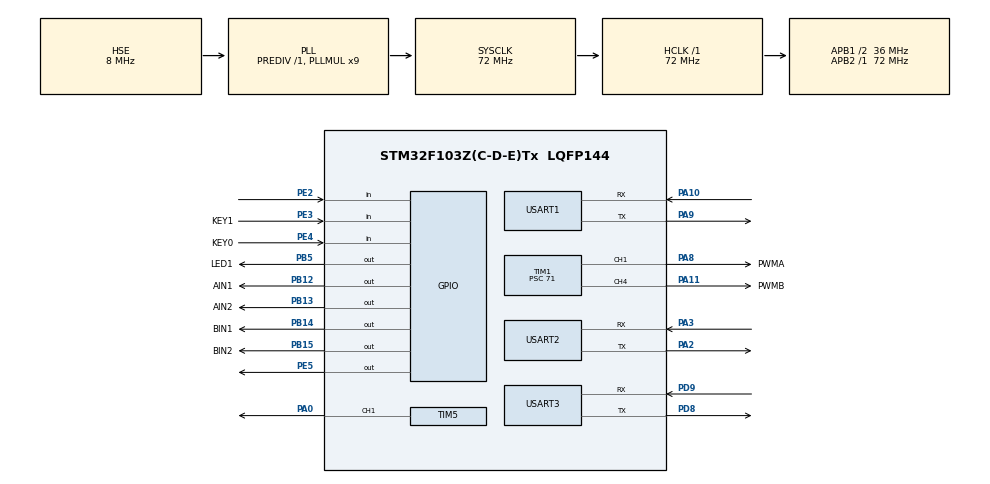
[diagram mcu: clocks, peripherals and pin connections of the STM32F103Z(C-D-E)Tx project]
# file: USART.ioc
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FREERTOS.Tasks01=Init_Task,2,128,Init_Function,Default,NULL,Dynamic,NULL,NULL;LED_Task,-3,128,LED_Function,Default,NULL,Dynamic,NULL,NULL;myTaskKEY,-3,128,StartTaskKEY,Default,NULL,Dynamic,NULL,NULL;myTaskPWM,-3,128,StartTaskPWM,Default,NULL,Dynamic,NULL,NULL
Mcu.Family=STM32F1
Mcu.Name=STM32F103Z(C-D-E)Tx
Mcu.Package=LQFP144
NVIC.PriorityGroup=NVIC_PRIORITYGROUP_4
NVIC.TIM3_IRQn=true\:5\:0\:true\:false\:true\:true\:true\:true
NVIC.TIM4_IRQn=true\:6\:0\:true\:false\:true\:true\:true\:true
NVIC.TIM5_IRQn=true\:5\:0\:false\:false\:true\:true\:true\:true
NVIC.TIM8_UP_IRQn=true\:15\:0\:false\:false\:true\:false\:false\:true
NVIC.TimeBase=TIM8_UP_IRQn
NVIC.TimeBaseIP=TIM8
NVIC.USART1_IRQn=true\:5\:0\:true\:false\:true\:true\:true\:true
NVIC.USART2_IRQn=true\:5\:0\:true\:false\:true\:true\:true\:true
NVIC.USART3_IRQn=true\:5\:0\:false\:false\:true\:true\:true\:true
OSC_IN.Mode=HSE-External-Oscillator
OSC_IN.Signal=RCC_OSC_IN
OSC_OUT.Mode=HSE-External-Oscillator
OSC_OUT.Signal=RCC_OSC_OUT
PA0-WKUP.Signal=S_TIM5_CH1
PA10.Mode=Asynchronous
PA10.Signal=USART1_RX
PA11.GPIO_Label=PWMB
PA11.Signal=S_TIM1_CH4
PA13.Mode=Serial_Wire
PA13.Signal=SYS_JTMS-SWDIO
PA14.Mode=Serial_Wire
PA14.Signal=SYS_JTCK-SWCLK
PA2.Mode=Asynchronous
PA2.Signal=USART2_TX
PA3.Mode=Asynchronous
PA3.Signal=USART2_RX
PA8.GPIO_Label=PWMA
PA8.Signal=S_TIM1_CH1
PA9.Mode=Asynchronous
PA9.Signal=USART1_TX
PB12.GPIO_Label=AIN1
PB12.GPIO_Speed=GPIO_SPEED_FREQ_MEDIUM
PB12.Signal=GPIO_Output
PB13.GPIO_Label=AIN2
PB13.GPIO_Speed=GPIO_SPEED_FREQ_MEDIUM
PB13.Signal=GPIO_Output
PB14.GPIO_Label=BIN1
PB14.GPIO_Speed=GPIO_SPEED_FREQ_MEDIUM
PB14.Signal=GPIO_Output
PB15.GPIO_Label=BIN2
PB15.GPIO_Speed=GPIO_SPEED_FREQ_MEDIUM
PB15.Signal=GPIO_Output
PB5.GPIO_Label=LED1
PB5.PinState=GPIO_PIN_SET
PB5.Signal=GPIO_Output
PD8.Mode=Asynchronous
PD8.Signal=USART3_TX
PD9.Mode=Asynchronous
PD9.Signal=USART3_RX
PE2.Signal=GPIO_Input
PE3.GPIO_Label=KEY1
PE3.GPIO_PuPd=GPIO_PULLUP
PE3.Signal=GPIO_Input
PE4.GPIO_Label=KEY0
PE4.GPIO_PuPd=GPIO_PULLUP
PE4.Signal=GPIO_Input
PE5.Signal=GPIO_Output
ProjectManager.HeapSize=0x200
ProjectManager.StackSize=0x400
ProjectManager.TargetToolchain=MDK-ARM V5.32
RCC.AHBFreq_Value=72000000
RCC.APB1CLKDivider=RCC_HCLK_DIV2
RCC.APB1Freq_Value=36000000
RCC.APB1TimFreq_Value=72000000
RCC.APB2Freq_Value=72000000
RCC.APB2TimFreq_Value=72000000
RCC.HCLKFreq_Value=72000000
RCC.PLLMUL=RCC_PLL_MUL9
RCC.PLLSourceVirtual=RCC_PLLSOURCE_HSE
RCC.SYSCLKFreq_VALUE=72000000
RCC.SYSCLKSource=RCC_SYSCLKSOURCE_PLLCLK
RCC.USBFreq_Value=72000000
SH.S_TIM1_CH1.0=TIM1_CH1,PWM Generation1 CH1
SH.S_TIM1_CH4.0=TIM1_CH4,PWM Generation4 CH4
SH.S_TIM5_CH1.0=TIM5_CH1,PWM Generation1 CH1
TIM1.Channel-PWM\ Generation1\ CH1=TIM_CHANNEL_1
TIM1.Channel-PWM\ Generation4\ CH4=TIM_CHANNEL_4
TIM1.Period=999
TIM1.Prescaler=71
TIM3.AutoReloadPreload=TIM_AUTORELOAD_PRELOAD_ENABLE
TIM3.Period=4999
TIM3.Prescaler=7199
TIM4.AutoReloadPreload=TIM_AUTORELOAD_PRELOAD_ENABLE
TIM4.Period=9999
TIM4.Prescaler=7199
TIM5.AutoReloadPreload=TIM_AUTORELOAD_PRELOAD_ENABLE
TIM5.Channel-PWM\ Generation1\ CH1=TIM_CHANNEL_1
TIM5.OCFastMode_PWM-PWM\ Generation1\ CH1=TIM_OCFAST_DISABLE
TIM5.OCPolarity_1=TIM_OCPOLARITY_LOW
TIM5.Period=500-1
TIM5.Prescaler=72-1
USART1.VirtualMode=VM_ASYNC
USART2.VirtualMode=VM_ASYNC
USART3.VirtualMode=VM_ASYNC
VP_FREERTOS_VS_CMSIS_V1.Mode=CMSIS_V1
VP_SYS_VS_tim8.Mode=TIM8
VP_TIM1_VS_ClockSourceINT.Mode=Internal
VP_TIM3_VS_ClockSourceINT.Mode=Internal
VP_TIM4_VS_ClockSourceINT.Mode=Internal
VP_TIM5_VS_ClockSourceINT.Mode=Internal
board=custom

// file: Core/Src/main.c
/* USER CODE BEGIN Header */
/**
  ******************************************************************************
  * @file           : main.c
  * @brief          : Main program body
  ******************************************************************************
  * @attention
  *
  * Copyright (c) 2023 STMicroelectronics.
  * All rights reserved.
  *
  * This software is licensed under terms that can be found in the LICENSE file
  * in the root directory of this software component.
  * If no LICENSE file comes with this software, it is provided AS-IS.
  *
  ******************************************************************************
  */
/* USER CODE END Header */
#include "main.h"
#include "cmsis_os.h"
#include "tim.h"
#include "usart.h"
#include "gpio.h"

void SystemClock_Config(void);
void MX_FREERTOS_Init(void);

int main(void)
{

  /* MCU Configuration--------------------------------------------------------*/

  /* Reset of all peripherals, Initializes the Flash interface and the Systick. */
  HAL_Init();

  /* Configure the system clock */
  SystemClock_Config();

  /* Initialize all configured peripherals */
  MX_GPIO_Init();
  MX_USART1_UART_Init();
  MX_USART2_UART_Init();
  MX_USART3_UART_Init();
  MX_TIM3_Init();
  MX_TIM4_Init();
  MX_TIM5_Init();
  MX_TIM1_Init();

  /* Call init function for freertos objects (in freertos.c) */
  MX_FREERTOS_Init();
  /* Start scheduler */
  osKernelStart();

  /* We should never get here as control is now taken by the scheduler */
  /* Infinite loop */
  while (1)
  {

  }
}

void SystemClock_Config(void)
{
  RCC_OscInitTypeDef RCC_OscInitStruct = {0};
  RCC_ClkInitTypeDef RCC_ClkInitStruct = {0};

  /** Initializes the RCC Oscillators according to the specified parameters
  * in the RCC_OscInitTypeDef structure.
  */
  RCC_OscInitStruct.OscillatorType = RCC_OSCILLATORTYPE_HSE;
  RCC_OscInitStruct.HSEState = RCC_HSE_ON;
  RCC_OscInitStruct.HSEPredivValue = RCC_HSE_PREDIV_DIV1;
  RCC_OscInitStruct.HSIState = RCC_HSI_ON;
  RCC_OscInitStruct.PLL.PLLState = RCC_PLL_ON;
  RCC_OscInitStruct.PLL.PLLSource = RCC_PLLSOURCE_HSE;
  RCC_OscInitStruct.PLL.PLLMUL = RCC_PLL_MUL9;
  if (HAL_RCC_OscConfig(&RCC_OscInitStruct) != HAL_OK)
  {
    Error_Handler();
  }
  /** Initializes the CPU, AHB and APB buses clocks
  */
  RCC_ClkInitStruct.ClockType = RCC_CLOCKTYPE_HCLK|RCC_CLOCKTYPE_SYSCLK
                              |RCC_CLOCKTYPE_PCLK1|RCC_CLOCKTYPE_PCLK2;
  RCC_ClkInitStruct.SYSCLKSource = RCC_SYSCLKSOURCE_PLLCLK;
  RCC_ClkInitStruct.AHBCLKDivider = RCC_SYSCLK_DIV1;
  RCC_ClkInitStruct.APB1CLKDivider = RCC_HCLK_DIV2;
  RCC_ClkInitStruct.APB2CLKDivider = RCC_HCLK_DIV1;

  if (HAL_RCC_ClockConfig(&RCC_ClkInitStruct, FLASH_LATENCY_2) != HAL_OK)
  {
    Error_Handler();
  }
}

void HAL_TIM_PeriodElapsedCallback(TIM_HandleTypeDef *htim)
{
  if (htim->Instance == TIM8) {
    HAL_IncTick();
  }
  /* USER CODE BEGIN Callback 1 */
  if (htim->Instance == TIM3)
  {
	 u1_printf("time3\r\n");
  }

  if (htim->Instance == TIM4)
  {
	 u1_printf("time4\r\n");
  }
  /* USER CODE END Callback 1 */
}

void Error_Handler(void)
{
  __disable_irq();
  while (1)
  {
  }
}

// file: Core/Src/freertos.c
/* USER CODE BEGIN Header */
/**
  ******************************************************************************
  * File Name          : freertos.c
  * Description        : Code for freertos applications
  ******************************************************************************
  * @attention
  *
  * Copyright (c) 2023 STMicroelectronics.
  * All rights reserved.
  *
  * This software is licensed under terms that can be found in the LICENSE file
  * in the root directory of this software component.
  * If no LICENSE file comes with this software, it is provided AS-IS.
  *
  ******************************************************************************
  */
/* USER CODE END Header */

#include "FreeRTOS.h"
#include "task.h"
#include "main.h"
#include "cmsis_os.h"

/* USER CODE BEGIN Variables */
uint16_t pwm_value=0;   //PWM占空比
/* USER CODE END Variables */
osThreadId Init_TaskHandle;
osThreadId LED_TaskHandle;
osThreadId myTaskKEYHandle;
osThreadId myTaskPWMHandle;

void Init_Function(void const * argument);
void LED_Function(void const * argument);
void StartTaskKEY(void const * argument);
void StartTaskPWM(void const * argument);

void MX_FREERTOS_Init(void); /* (MISRA C 2004 rule 8.1) */

/* GetIdleTaskMemory prototype (linked to static allocation support) */
void vApplicationGetIdleTaskMemory( StaticTask_t **ppxIdleTaskTCBBuffer, StackType_t **ppxIdleTaskStackBuffer, uint32_t *pulIdleTaskStackSize );

/* USER CODE BEGIN GET_IDLE_TASK_MEMORY */
static StaticTask_t xIdleTaskTCBBuffer;
static StackType_t xIdleStack[configMINIMAL_STACK_SIZE];

void vApplicationGetIdleTaskMemory( StaticTask_t **ppxIdleTaskTCBBuffer, StackType_t **ppxIdleTaskStackBuffer, uint32_t *pulIdleTaskStackSize )
{
  *ppxIdleTaskTCBBuffer = &xIdleTaskTCBBuffer;
  *ppxIdleTaskStackBuffer = &xIdleStack[0];
  *pulIdleTaskStackSize = configMINIMAL_STACK_SIZE;
  /* place for user code */
}
/* USER CODE END GET_IDLE_TASK_MEMORY */

void MX_FREERTOS_Init(void) {

  /* Create the thread(s) */
  /* definition and creation of Init_Task */
  osThreadDef(Init_Task, Init_Function, osPriorityHigh, 0, 128);
  Init_TaskHandle = osThreadCreate(osThread(Init_Task), NULL);

  /* definition and creation of LED_Task */
  osThreadDef(LED_Task, LED_Function, osPriorityIdle, 0, 128);
  LED_TaskHandle = osThreadCreate(osThread(LED_Task), NULL);

  /* definition and creation of myTaskKEY */
  osThreadDef(myTaskKEY, StartTaskKEY, osPriorityIdle, 0, 128);
  myTaskKEYHandle = osThreadCreate(osThread(myTaskKEY), NULL);

  /* definition and creation of myTaskPWM */
  osThreadDef(myTaskPWM, StartTaskPWM, osPriorityIdle, 0, 128);
  myTaskPWMHandle = osThreadCreate(osThread(myTaskPWM), NULL);

}

void Init_Function(void const * argument)
{
  /* USER CODE BEGIN Init_Function */
  /* Infinite loop */
  for(;;)
  {
		taskENTER_CRITICAL(); //进入临界区
		HAL_UART_Receive_IT(&huart1, (uint8_t *)&aRxBuffer, 1);   //再开启接收中断
		Motor_Start();
		vTaskDelete(NULL);
		taskEXIT_CRITICAL();            //退出临界区
  }
  /* USER CODE END Init_Function */
}

void LED_Function(void const * argument)
{
  /* USER CODE BEGIN LED_Function */
  /* Infinite loop */
  for(;;)
  {
		if(led_flag==1)
		{
			LED1=1;
			osDelay(500);
			LED1=0;
			osDelay(500);
			u1_printf("led1\r\n");
		}
		else if(led_flag==2)
		{
			LED2_ON();
			HAL_Delay(500);
			LED2_OFF();
			HAL_Delay(500);
			u1_printf("led2\r\n");
		}
    osDelay(1);
  }
  /* USER CODE END LED_Function */
}

void StartTaskKEY(void const * argument)
{
  /* USER CODE BEGIN StartTaskKEY */
  /* Infinite loop */
  for(;;)
  {
	  uint8_t key=KEY_Scan();
	  if(key)
	  {
		  if(key==1)
		  {
			  led_flag=1;
				Motor_Rotaton(300,300);
		  }
		  else if(key==2)
		  {
			  led_flag=2;
				Motor_Rotaton(-300,-300);
		  }
	  }
    osDelay(1);
  }
  /* USER CODE END StartTaskKEY */
}

void StartTaskPWM(void const * argument)
{
  /* USER CODE BEGIN StartTaskPWM */
  /* Infinite loop */
  for(;;)
  {
	  while (pwm_value < 500)
	  {
		  pwm_value++;
		  __HAL_TIM_SetCompare(&htim5, TIM_CHANNEL_1, pwm_value);    //修改比较值，修改占空比
//		  TIM1->CCR1 = pwm_value;    //与上方作用相同，直接修改寄存器
		  osDelay(1);
	  }
	  while (pwm_value)
	  {
		  pwm_value--;
		  __HAL_TIM_SetCompare(&htim5, TIM_CHANNEL_1, pwm_value);    //修改比较值，修改占空比
//		  TIM1->CCR1 = pwmVal;    	 //与上方作用相同，直接修改寄存器
		  osDelay(1);
	  }
	  osDelay(200);
    osDelay(1);
  }
  /* USER CODE END StartTaskPWM */
}
